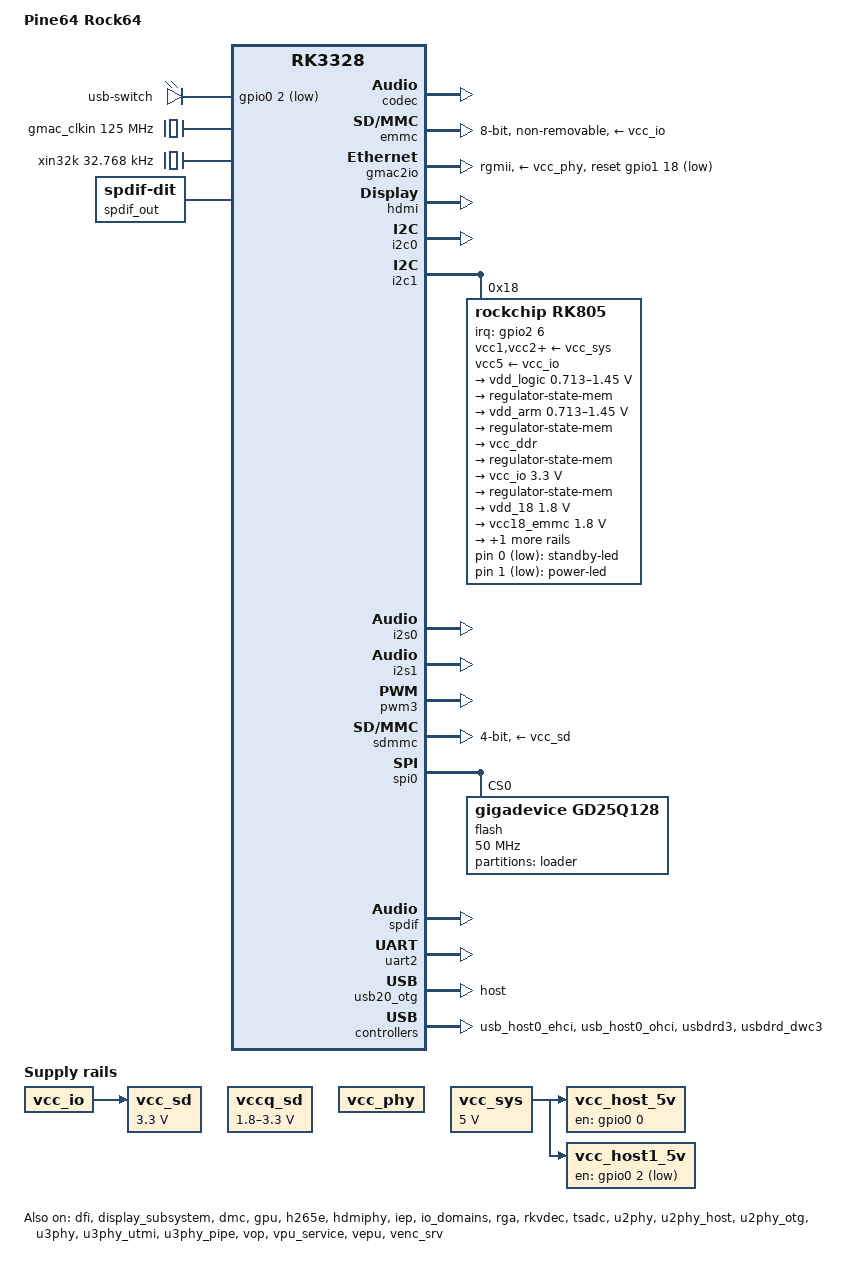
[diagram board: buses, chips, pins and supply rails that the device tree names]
/*
 * Copyright (c) 2017 Fuzhou Rockchip Electronics Co., Ltd
 *
 * This file is dual-licensed: you can use it either under the terms
 * of the GPL or the X11 license, at your option. Note that this dual
 * licensing only applies to this file, and not this project as a
 * whole.
 *
 *  a) This library is free software; you can redistribute it and/or
 *     modify it under the terms of the GNU General Public License as
 *     published by the Free Software Foundation; either version 2 of the
 *     License, or (at your option) any later version.
 *
 *     This library is distributed in the hope that it will be useful,
 *     but WITHOUT ANY WARRANTY; without even the implied warranty of
 *     MERCHANTABILITY or FITNESS FOR A PARTICULAR PURPOSE.  See the
 *     GNU General Public License for more details.
 *
 * Or, alternatively,
 *
 *  b) Permission is hereby granted, free of charge, to any person
 *     obtaining a copy of this software and associated documentation
 *     files (the "Software"), to deal in the Software without
 *     restriction, including without limitation the rights to use,
 *     copy, modify, merge, publish, distribute, sublicense, and/or
 *     sell copies of the Software, and to permit persons to whom the
 *     Software is furnished to do so, subject to the following
 *     conditions:
 *
 *     The above copyright notice and this permission notice shall be
 *     included in all copies or substantial portions of the Software.
 *
 *     THE SOFTWARE IS PROVIDED "AS IS", WITHOUT WARRANTY OF ANY KIND,
 *     EXPRESS OR IMPLIED, INCLUDING BUT NOT LIMITED TO THE WARRANTIES
 *     OF MERCHANTABILITY, FITNESS FOR A PARTICULAR PURPOSE AND
 *     NONINFRINGEMENT. IN NO EVENT SHALL THE AUTHORS OR COPYRIGHT
 *     HOLDERS BE LIABLE FOR ANY CLAIM, DAMAGES OR OTHER LIABILITY,
 *     WHETHER IN AN ACTION OF CONTRACT, TORT OR OTHERWISE, ARISING
 *     FROM, OUT OF OR IN CONNECTION WITH THE SOFTWARE OR THE USE OR
 *     OTHER DEALINGS IN THE SOFTWARE.
 */

/dts-v1/;
#include <dt-bindings/pwm/pwm.h>
#include <dt-bindings/input/input.h>
#include "rk3328.dtsi"

/ {
	model = "Pine64 Rock64";
	compatible = "pine64,rock64", "rockchip,rk3328";

	chosen {
		// disable USB autosuspend as this solves USB stability issues
		bootargs = "earlycon=uart8250,mmio32,0xff130000 swiotlb=1 kpti=0 no_console_suspend=1 usbcore.autosuspend=-1";
		stdout-path = "serial2:1500000n8";
	};

	leds {
		compatible = "gpio-leds";

		standby-led {
			linux,default-trigger = "disk-activity";
			gpios = <&rk805 0 GPIO_ACTIVE_LOW>;
			default-state = "on";
		};

		power-led {
			gpios = <&rk805 1 GPIO_ACTIVE_LOW>;
			default-state = "on";
		};
	};

	switches {
		compatible = "gpio-leds";

		usb-switch {
			linux,default-trigger = "none";
			gpios = <&gpio0 2 1>;
			mode = <0x23>;
			default-state = "on";
		};
	};

	gmac_clkin: external-gmac-clock {
		compatible = "fixed-clock";
		clock-frequency = <125000000>;
		clock-output-names = "gmac_clkin";
		#clock-cells = <0>;
	};

	vcc_sd: sdmmc-regulator {
		compatible = "regulator-fixed";
		regulator-name = "vcc_sd";
		regulator-min-microvolt = <3300000>;
		regulator-max-microvolt = <3300000>;
		regulator-always-on;
		vin-supply = <&vcc_io>;
	};

	vccq_sd: sdmmc-regulator-vccq {
		compatible = "regulator-gpio";
		regulator-name = "vccq_sd";
		regulator-min-microvolt = <1800000>;
		regulator-max-microvolt = <3300000>;
		pinctrl-names = "default";
		pinctrl-0 = <&sdmmc0m1_gpio>;
		gpios = <&gpio0 30 GPIO_ACTIVE_LOW>;
		states = <3300000 0
			  1800000 1>;
	};

	vcc_host_5v: vcc-host-5v-regulator {
		compatible = "regulator-fixed";
		enable-active-high;
		gpio = <&gpio0 0 GPIO_ACTIVE_HIGH>;
		pinctrl-names = "default";
		pinctrl-0 = <&usb30_host_drv>;
		regulator-name = "vcc_host_5v";
		regulator-always-on;
		vin-supply = <&vcc_sys>;
	};

	vcc_host1_5v: vcc_otg_5v: vcc-host1-5v-regulator {
		compatible = "regulator-fixed";
		gpio = <&gpio0 2 GPIO_ACTIVE_LOW>;
		pinctrl-names = "default";
		pinctrl-0 = <&usb20_host_drv>;
		regulator-name = "vcc_host1_5v";
		regulator-always-on;
		vin-supply = <&vcc_sys>;
	};

	vcc_phy: vcc-phy-regulator {
		compatible = "regulator-fixed";
		regulator-name = "vcc_phy";
		regulator-always-on;
		regulator-boot-on;
	};

	vcc_sys: vcc-sys {
		compatible = "regulator-fixed";
		regulator-name = "vcc_sys";
		regulator-always-on;
		regulator-boot-on;
		regulator-min-microvolt = <5000000>;
		regulator-max-microvolt = <5000000>;
	};

	xin32k: xin32k {
		compatible = "fixed-clock";
		clock-frequency = <32768>;
		clock-output-names = "xin32k";
		#clock-cells = <0>;
	};

	dummy_codec: dummy-codec {
		compatible = "linux,snd-soc-dummy";
		#sound-dai-cells = <0>;
	};

	hdmi-sound {
		compatible = "simple-audio-card";
		simple-audio-card,format = "i2s";
		simple-audio-card,mclk-fs = <256>;
		simple-audio-card,name = "rk-hdmi-sound";
		simple-audio-card,cpu {
			sound-dai = <&i2s0>;
		};
		simple-audio-card,codec {
			sound-dai = <&hdmi>;
		};
	};

	headphones-sound {
		compatible = "simple-audio-card";
		simple-audio-card,mclk-fs = <256>;
		simple-audio-card,name = "rk-i2s-sound";
		simple-audio-card,dai-link@0 {
			format = "i2s";
			cpu {
				sound-dai = <&i2s1>;
			};
			codec {
				sound-dai = <&codec>;
			};
		};
		simple-audio-card,dai-link@1 {
			format = "i2s";
			cpu {
				sound-dai = <&i2s1>;
			};
			codec {
				sound-dai = <&dummy_codec>;
			};
		};
	};

	spdif-sound {
		compatible = "simple-audio-card";
		simple-audio-card,name = "rk-spdif-sound";
		simple-audio-card,cpu {
			sound-dai = <&spdif>;
		};
		simple-audio-card,codec {
			sound-dai = <&spdif_out>;
		};
	};

	spdif_out: spdif-out {
		compatible = "linux,spdif-dit";
		#sound-dai-cells = <0>;
	};
};

&codec {
	#sound-dai-cells = <0>;
	status = "okay";
};

&cpu0 {
	cpu-supply = <&vdd_arm>;
};

&cpu1 {
	cpu-supply = <&vdd_arm>;
};

&cpu2 {
	cpu-supply = <&vdd_arm>;
};

&cpu3 {
	cpu-supply = <&vdd_arm>;
};

&dfi {
	status = "okay";
};

&display_subsystem {
	status = "okay";
};

&dmc {
	center-supply = <&vdd_logic>;
	status = "okay";
	system-status-freq = <
		/*system status         freq(KHz)*/
		SYS_STATUS_NORMAL       786000
		SYS_STATUS_REBOOT       786000
		SYS_STATUS_SUSPEND      786000
		SYS_STATUS_VIDEO_1080P  786000
		SYS_STATUS_VIDEO_4K     786000
		SYS_STATUS_VIDEO_4K_10B 786000
		SYS_STATUS_PERFORMANCE  786000
		SYS_STATUS_BOOST        786000
	>;
};

&dmc_opp_table {
	opp-800000000 {
		status = "disabled";
	};

	opp-850000000 {
		status = "disabled";
	};

	opp-933000000 {
		status = "disabled";
	};

	opp-1066000000 {
		status = "disabled";
	};
};

&emmc {
	bus-width = <8>;
	cap-mmc-highspeed;
	mmc-hs200-1_8v;
	non-removable;
	supports-emmc;
	clocks = <&cru HCLK_EMMC>, <&cru SCLK_EMMC>,
		<&cru SCLK_EMMC_DRV>, <&cru SCLK_EMMC_SAMPLE>;	
	clock-names = "biu", "ciu", "ciu-drv", "ciu-sample";
	disable-wp;
	max-frequency = <200000000>;
	mmc-hs200-1_8v;
	num-slots = <1>;
	pinctrl-names = "default";
	pinctrl-0 = <&emmc_clk &emmc_cmd &emmc_bus8>;
	vmmc-supply = <&vcc_io>;
	vqmmc-supply = <&vcc18_emmc>;
	status = "okay";
};

&gmac2io {
	phy-supply = <&vcc_phy>;
	phy-mode = "rgmii";
	assigned-clocks = <&cru SCLK_MAC2IO>, <&cru SCLK_MAC2IO_EXT>;
	assigned-clock-parents = <&gmac_clkin>, <&gmac_clkin>;
	clock_in_out = "input";
	rockchip,bugged_tx_coe;
	disable,wake-on-lan; // device does not resume
	snps,reset-gpio = <&gpio1 18 GPIO_ACTIVE_LOW>;
	snps,reset-active-low;
	snps,reset-delays-us = <0 10000 50000>;
	pinctrl-names = "default";
	pinctrl-0 = <&rgmiim1_pins>;
	tx_delay = <0x26>;
	rx_delay = <0x11>;
	status = "okay";
};

&gmac2phy {
	phy-supply = <&vcc_phy>;
	clock_in_out = "output";
	assigned-clocks = <&cru SCLK_MAC2PHY_SRC>;
	assigned-clock-rate = <50000000>;
	assigned-clocks = <&cru SCLK_MAC2PHY>;
	assigned-clock-parents = <&cru SCLK_MAC2PHY_SRC>;
	disable,wake-on-lan; // device does not resume
	status = "disabled";
};

&gpu {
	status = "okay";
	mali-supply = <&vdd_logic>;
};

&h265e {
	status = "okay";
};

&h265e_mmu {
	status = "okay";
};

&hdmi {
	#sound-dai-cells = <0>;
	ddc-i2c-scl-high-time-ns = <9625>;
	ddc-i2c-scl-low-time-ns = <10000>;
	status = "okay";
};

&hdmiphy {
	status = "okay";
};

&i2c0 {
	status = "okay";
};

&i2c1 {
	status = "okay";

	rk805: rk805@18 {
		compatible = "rockchip,rk805";
		status = "okay";
		reg = <0x18>;
		interrupt-parent = <&gpio2>;
		interrupts = <6 IRQ_TYPE_LEVEL_LOW>;
		pinctrl-names = "default";
		pinctrl-0 = <&pmic_int_l>;
		rockchip,system-power-controller;
		wakeup-source;
		gpio-controller;
		clock-output-names = "rk805-clkout1", "rk805-clkout2";
		#gpio-cells = <2>;
		#clock-cells = <1>;

		vcc1-supply = <&vcc_sys>;
		vcc2-supply = <&vcc_sys>;
		vcc3-supply = <&vcc_sys>;
		vcc4-supply = <&vcc_sys>;
		vcc5-supply = <&vcc_io>;
		vcc6-supply = <&vcc_sys>;

		rtc {
			status = "okay";
		};

		pwrkey {
			status = "okay";
		};

		gpio {
			status = "okay";
		};

		regulators {
			compatible = "rk805-regulator";
			status = "okay";
			#address-cells = <1>;
			#size-cells = <0>;

			vdd_logic: RK805_DCDC1 {
				regulator-compatible = "RK805_DCDC1";
				regulator-name = "vdd_logic";
				regulator-min-microvolt = <712500>;
				regulator-max-microvolt = <1450000>;
				regulator-initial-mode = <0x1>;
				regulator-ramp-delay = <12500>;
				regulator-boot-on;
				regulator-always-on;
				regulator-state-mem {
					regulator-mode = <0x2>;
					regulator-on-in-suspend;
					regulator-suspend-microvolt = <1000000>;
				};
			};

			vdd_arm: RK805_DCDC2 {
				regulator-compatible = "RK805_DCDC2";
				regulator-name = "vdd_arm";
				regulator-min-microvolt = <712500>;
				regulator-max-microvolt = <1450000>;
				regulator-initial-mode = <0x1>;
				regulator-ramp-delay = <12500>;
				regulator-boot-on;
				regulator-always-on;
				regulator-state-mem {
					regulator-mode = <0x2>;
					regulator-on-in-suspend;
					regulator-suspend-microvolt = <950000>;
				};
			};

			vcc_ddr: RK805_DCDC3 {
				regulator-compatible = "RK805_DCDC3";
				regulator-name = "vcc_ddr";
				regulator-initial-mode = <0x1>;
				regulator-boot-on;
				regulator-always-on;
				regulator-state-mem {
					regulator-mode = <0x2>;
					regulator-on-in-suspend;
				};
			};

			vcc_io: RK805_DCDC4 {
				regulator-compatible = "RK805_DCDC4";
				regulator-name = "vcc_io";
				regulator-min-microvolt = <3300000>;
				regulator-max-microvolt = <3300000>;
				regulator-initial-mode = <0x1>;
				regulator-boot-on;
				regulator-always-on;
				regulator-state-mem {
					regulator-mode = <0x2>;
					regulator-on-in-suspend;
					regulator-suspend-microvolt = <3300000>;
				};
			};

			vdd_18: RK805_LDO1 {
				regulator-compatible = "RK805_LDO1";
				regulator-name = "vdd_18";
				regulator-min-microvolt = <1800000>;
				regulator-max-microvolt = <1800000>;
				regulator-boot-on;
				regulator-always-on;
				regulator-state-mem {
					regulator-on-in-suspend;
					regulator-suspend-microvolt = <1800000>;
				};
			};

			vcc18_emmc: RK805_LDO2 {
				regulator-compatible = "RK805_LDO2";
				regulator-name = "vcc18_emmc";
				regulator-min-microvolt = <1800000>;
				regulator-max-microvolt = <1800000>;
				regulator-boot-on;
				regulator-always-on;
				regulator-state-mem {
					regulator-on-in-suspend;
					regulator-suspend-microvolt = <1800000>;
				};
			};

			vdd_10: RK805_LDO3 {
				regulator-compatible = "RK805_LDO3";
				regulator-name = "vdd_10";
				regulator-min-microvolt = <1000000>;
				regulator-max-microvolt = <1000000>;
				regulator-boot-on;
				regulator-always-on;
				regulator-state-mem {
					regulator-on-in-suspend;
					regulator-suspend-microvolt = <1000000>;
				};
			};
		};
	};
};

&i2s0 {
	#sound-dai-cells = <0>;
	rockchip,bclk-fs = <128>;
	status = "okay";
};

&i2s1 {
	pinctrl-names = "default";
	pinctrl-0 = <&i2s1_mclk
		     &i2s1_sclk
		     &i2s1_lrcktx
		     &i2s1_lrckrx
		     &i2s1_sdo
		     &i2s1_sdi
		     &i2s1_sdio1
		     &i2s1_sdio2
		     &i2s1_sdio3>;
	#sound-dai-cells = <0>;
	status = "okay";
};

&iep {
	status = "okay";
};

&iep_mmu {
	status = "okay";
};

&io_domains {
	status = "okay";

	vccio1-supply = <&vcc_io>;
	vccio2-supply = <&vcc18_emmc>;
	vccio3-supply = <&vccq_sd>;
	vccio4-supply = <&vdd_18>;
	vccio5-supply = <&vcc_io>;
	vccio6-supply = <&vcc_io>;
	pmuio-supply = <&vcc_io>;
};

&pinctrl {
	ir {
		ir_int: ir-int {
			rockchip,pins = <2 2 RK_FUNC_GPIO &pcfg_pull_none>;
		};
	};

	pmic {
		pmic_int_l: pmic-int-l {
			rockchip,pins = <2 6 RK_FUNC_GPIO &pcfg_pull_up>;
		};
	};

	sdio-pwrseq {
		wifi_enable_h: wifi-enable-h {
			rockchip,pins = <1 18 RK_FUNC_GPIO &pcfg_pull_none>;
		};
	};

	usb2 {
		usb20_host_drv: usb20-host-drv {
			rockchip,pins = <0 2 RK_FUNC_GPIO &pcfg_pull_none>;
		};
	};

	usb3 {
		usb30_host_drv: usb30-host-drv {
			rockchip,pins = <0 0 RK_FUNC_GPIO &pcfg_pull_none>;
		};
	};
};


&pwm3 {
	status = "okay";
	pinctrl-names = "default";
	pinctrl-0 = <&pwmir_pin>;
	compatible = "rockchip,remotectl-pwm";
	remote_pwm_id = <3>;
	handle_cpu_id = <1>;
	remote_support_psci = <1>;

	ir_key1 {
		rockchip,usercode = <0x4040>;
		rockchip,key_table =
			<0xf2	KEY_REPLY>,
			<0xba	KEY_BACK>,
			<0xf4	KEY_UP>,
			<0xf1	KEY_DOWN>,
			<0xef	KEY_LEFT>,
			<0xee	KEY_RIGHT>,
			<0xbd	KEY_HOME>,
			<0xea	KEY_VOLUMEUP>,
			<0xe3	KEY_VOLUMEDOWN>,
			<0xe2	KEY_SEARCH>,
			<0xb2	KEY_POWER>,
			<0xbc	KEY_MUTE>,
			<0xec	KEY_MENU>,
			<0xbf	0x190>,
			<0xe0	0x191>,
			<0xe1	0x192>,
			<0xe9	183>,
			<0xe6	248>,
			<0xe8	185>,
			<0xe7	186>,
			<0xf0	388>,
			<0xbe	0x175>;
	};

	ir_key2 {
		rockchip,usercode = <0xff00>;
		rockchip,key_table =
			<0xf9	KEY_HOME>,
			<0xbf	KEY_BACK>,
			<0xfb	KEY_MENU>,
			<0xaa	KEY_REPLY>,
			<0xb9	KEY_UP>,
			<0xe9	KEY_DOWN>,
			<0xb8	KEY_LEFT>,
			<0xea	KEY_RIGHT>,
			<0xeb	KEY_VOLUMEDOWN>,
			<0xef	KEY_VOLUMEUP>,
			<0xf7	KEY_MUTE>,
			<0xe7	KEY_POWER>,
			<0xfc	KEY_POWER>,
			<0xa9	KEY_VOLUMEDOWN>,
			<0xa8	KEY_PLAYPAUSE>,
			<0xe0	KEY_VOLUMEDOWN>,
			<0xa5	KEY_VOLUMEDOWN>,
			<0xab	183>,
			<0xb7	388>,
			<0xe8	388>,
			<0xf8	184>,
			<0xaf	185>,
			<0xed	KEY_VOLUMEDOWN>,
			<0xee	186>,
			<0xb3	KEY_VOLUMEDOWN>,
			<0xf1	KEY_VOLUMEDOWN>,
			<0xf2	KEY_VOLUMEDOWN>,
			<0xf3	KEY_SEARCH>,
			<0xb4	KEY_VOLUMEDOWN>,
			<0xa4	KEY_SETUP>,
			<0xbe	KEY_SEARCH>;
	};

	ir_key3 {
		rockchip,usercode = <0x1dcc>;
		rockchip,key_table =
			<0xee	KEY_REPLY>,
			<0xf0	KEY_BACK>,
			<0xf8	KEY_UP>,
			<0xbb	KEY_DOWN>,
			<0xef	KEY_LEFT>,
			<0xed	KEY_RIGHT>,
			<0xfc	KEY_HOME>,
			<0xf1	KEY_VOLUMEUP>,
			<0xfd	KEY_VOLUMEDOWN>,
			<0xb7	KEY_SEARCH>,
			<0xff	KEY_POWER>,
			<0xf3	KEY_MUTE>,
			<0xbf	KEY_MENU>,
			<0xf9	0x191>,
			<0xf5	0x192>,
			<0xb3	388>,
			<0xbe	KEY_1>,
			<0xba	KEY_2>,
			<0xb2	KEY_3>,
			<0xbd	KEY_4>,
			<0xf9	KEY_5>,
			<0xb1	KEY_6>,
			<0xfc	KEY_7>,
			<0xf8	KEY_8>,
			<0xb0	KEY_9>,
			<0xb6	KEY_0>,
			<0xb5	KEY_BACKSPACE>;
	};
};

&rga {
	status = "okay";
};

&rkvdec {
	status = "okay";
	vcodec-supply = <&vdd_logic>;
};

&rkvdec_mmu {
	status = "okay";
};

&rockchip_suspend {
	status = "okay";
	rockchip,virtual-poweroff = <1>;
};

&sdmmc {
	bus-width = <4>;
	cap-mmc-highspeed;
	cap-sd-highspeed;
	disable-wp;
	max-frequency = <150000000>;
	num-slots = <1>;
	pinctrl-names = "default";
	pinctrl-0 = <&sdmmc0_clk &sdmmc0_cmd &sdmmc0_dectn &sdmmc0_bus4>;
	vmmc-supply = <&vcc_sd>;
	vqmmc-supply = <&vccq_sd>;
	supports-sd;
	sd-uhs-sdr104;
	status = "okay";
};

&spi0 {
	status = "okay";

	flash@0 {
		compatible = "gigadevice,gd25q128", "jedec,spi-nor";
		#address-cells = <1>;
		#size-cells = <1>;
		reg = <0>;
		m25p,fast-read;
		/* The max SCLK of the flash 104/80 MHZ  */
		spi-max-frequency = <50000000>;

		partitions {
			compatible = "fixed-partitions";
			#address-cells = <1>;
			#size-cells = <1>;

			loader@8000 {
				label = "loader";
				reg = <0x8000 0x3F0000>;
			};
		};
	};
};

&spdif {
	pinctrl-names = "default";
	pinctrl-0 = <&spdifm0_tx>;
	#sound-dai-cells = <0>;
	status = "okay";
};

&threshold {
	temperature = <80000>; /* millicelsius */
};

&target {
	temperature = <95000>; /* millicelsius */
};

&soc_crit {
	temperature = <100000>; /* millicelsius */
};

&tsadc {
	rockchip,hw-tshut-mode = <0>;
	rockchip,hw-tshut-polarity = <0>;
	rockchip,hw-tshut-temp = <110000>;
	status = "okay";
};

&uart2 {
	status = "okay";
};

&u2phy {
	status = "okay";

};

&u2phy_host {
	phy-supply = <&vcc_host1_5v>;
	status = "okay";
};

&u2phy_otg {
	phy-supply = <&vcc_otg_5v>;
	status = "okay";
};

&u3phy {
	phy-supply = <&vcc_host_5v>;
	status = "okay";
};

&u3phy_utmi {
	status = "okay";
};

&u3phy_pipe {
	status = "okay";
};

&usb20_otg {
	dr_mode = "host";
	status = "okay";
};

&usb_host0_ehci {
	status = "okay";
};

&usb_host0_ohci {
	status = "okay";
};

&usbdrd3 {
	status = "okay";
};

&usbdrd_dwc3 {
	status = "okay";
};

&vop {
	status = "okay";
};

&vop_mmu {
	status = "okay";
};

&vpu_service {
	status = "okay";
};

&vpu_mmu {
	status = "okay";
};

&vepu {
	status = "okay";
};

&vepu_mmu {
	status = "okay";
};

&venc_srv {
	status = "okay";
};
